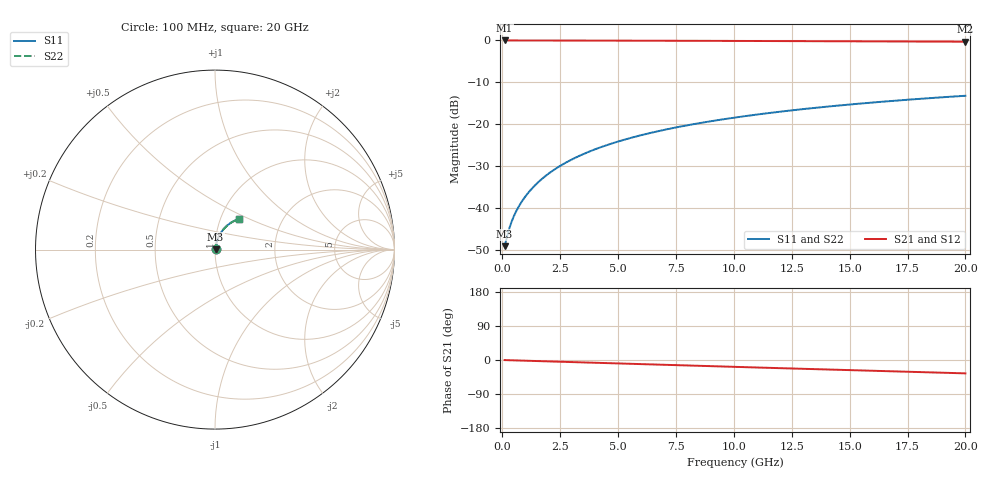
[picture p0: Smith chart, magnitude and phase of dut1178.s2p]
! Touchstone file exported from HFSS 2026.1.0
!  File:  C:/ffzhzh/LocalFiles/Ansys_Project_Files/temp_train_TMRDL_1178_1783162576_51560.aedt
!  Generated:  06:57:27 PM Jul  4, 2026
!  Design:  TMRDL
!  Project:  temp_train_TMRDL_1178_1783162576_51560
! Variables:
!  h_bsmrdl = 2um
!  h_ox = 20um
!  h_rdl = 5um
!  h_sub = 80um
!  h_tmrdl = 2.99um
!  h_tsv = 80um
!  h_via = 3um
!  l_bsmrdl = 300um
!  l_sub = 969.05um
!  l_tmrdl = 569.05um
!  m_sub = 200um
!  pitch = 35.54um
!  r_tsv = 6um
!  s_tmrdl = 10um
!  w_bsmrdl = 18um
!  w_sub = 500um
!  w_tmrdl = 23.3um
!  x_tsv_center1 = 580.7um
!  x_tsv_center2 = 898.7um
!  x_tsv_center3 = 1491.05um
!  x_tsv_center4 = 1809.05um
!  x_tsv_center5 = 2401.4um
!  x_tsv_center6 = 2719.4um
# GHz S MA R 50.000000
! Terminal data exported
! Port[1] = TM_RDL1_1_T1
! Port[2] = TM_RDL1_1_T2
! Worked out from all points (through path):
!   200 points, 100 MHz to 20 GHz, reference 50 ohm
!   highest |S21| = -0.03 dB at 100 MHz (marker M1); lowest = -0.3 dB at 20 GHz (marker M2)
!   group delay of S21, straight-line fit = 4.89 ps
!   lowest |S11| = -49.1 dB at 100 MHz (marker M3), VSWR 1.01, Z = 50.3 + j0.158 ohm
!   |S11| at or under -10 dB: start of sweep to end of sweep
!   |S22| runs from -49.1 to -13.2 dB; largest |S21 - S12| = 3.1e-15
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0.1  0.003526 26.3  0.9968 -0.2  0.9968 -0.2  0.003526 26.3
! Gamma 0 0 0 0
! Port Impedance 50 0 50 0
0.3  0.005703 50.9  0.9964 -0.6  0.9964 -0.6  0.005703 50.9
0.4  0.006884 56.2  0.9962 -0.8  0.9962 -0.8  0.006884 56.2
0.5  0.008048 59.8  0.9961 -1.0  0.9961 -1.0  0.008048 59.8
0.6  0.0092 62.7  0.9959 -1.1  0.9959 -1.1  0.0092 62.7
0.8  0.0115 66.8  0.9957 -1.5  0.9957 -1.5  0.0115 66.8
1  0.01383 69.6  0.9955 -1.9  0.9955 -1.9  0.01383 69.6
1.2  0.01618 71.7  0.9954 -2.2  0.9954 -2.2  0.01619 71.7
1.4  0.01857 73.2  0.9953 -2.6  0.9953 -2.6  0.01857 73.2
1.7  0.02218 74.7  0.9951 -3.1  0.9951 -3.1  0.02218 74.7
2.2  0.02826 76.1  0.9948 -4.0  0.9948 -4.0  0.02826 76.1
2.8  0.03559 76.8  0.9944 -5.1  0.9944 -5.1  0.03559 76.7
3.5  0.04413 76.7  0.9937 -6.4  0.9937 -6.4  0.04413 76.7
4.2  0.05263 76.2  0.993 -7.7  0.993 -7.7  0.05263 76.2
5  0.06226 75.4  0.9921 -9.1  0.9921 -9.1  0.06226 75.4
5.9  0.07296 74.2  0.9909 -10.8  0.9909 -10.8  0.07296 74.2
6.8  0.08352 72.9  0.9896 -12.4  0.9896 -12.4  0.08352 72.9
8.3  0.1007 70.6  0.9872 -15.0  0.9872 -15.0  0.1007 70.5
10.1  0.1208 67.7  0.984 -18.2  0.984 -18.2  0.1208 67.6
13.4  0.1558 62.3  0.9775 -24.0  0.9775 -24.0  0.1558 62.3
16.7  0.1884 56.9  0.9706 -29.7  0.9706 -29.7  0.1884 56.9
20  0.2186 51.6  0.9634 -35.3  0.9634 -35.3  0.2186 51.5
